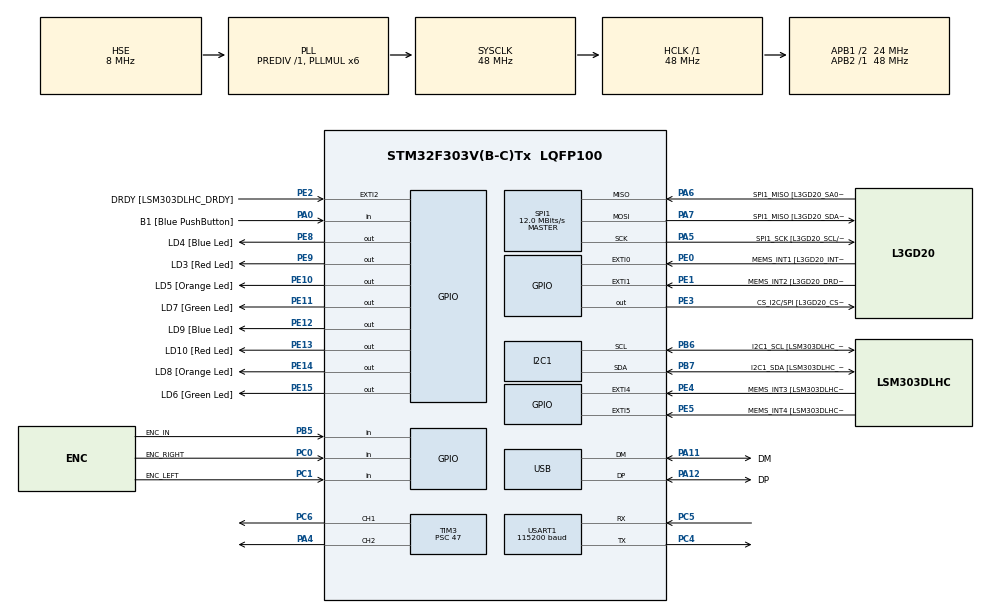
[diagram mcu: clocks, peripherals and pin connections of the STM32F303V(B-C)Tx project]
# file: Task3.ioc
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I2C1.Timing=0x00201D2B
I2C1.Timing-I2C=0x2000090E
Mcu.Family=STM32F3
Mcu.Name=STM32F303V(B-C)Tx
Mcu.Package=LQFP100
NVIC.PriorityGroup=NVIC_PRIORITYGROUP_0
PA0.GPIO_Label=B1 [Blue PushButton]
PA0.Signal=GPIO_Input
PA11.GPIO_Label=DM
PA11.Mode=Device
PA11.Signal=USB_DM
PA12.GPIO_Label=DP
PA12.Mode=Device
PA12.Signal=USB_DP
PA13.GPIO_Label=SWDIO
PA13.Mode=Serial_Wire
PA13.Signal=SYS_JTMS-SWDIO
PA14.GPIO_Label=SWCLK
PA14.Mode=Serial_Wire
PA14.Signal=SYS_JTCK-SWCLK
PA4.Signal=S_TIM3_CH2
PA5.GPIO_Label=SPI1_SCK [L3GD20_SCL/SPC]
PA5.Mode=Full_Duplex_Master
PA5.Signal=SPI1_SCK
PA6.GPIO_Label=SPI1_MISO [L3GD20_SA0/SDO]
PA6.Mode=Full_Duplex_Master
PA6.Signal=SPI1_MISO
PA7.GPIO_Label=SPI1_MISO [L3GD20_SDA/SDI/SDO]
PA7.Mode=Full_Duplex_Master
PA7.Signal=SPI1_MOSI
PB5.GPIO_Label=ENC_IN
PB5.GPIO_PuPd=GPIO_PULLUP
PB5.Signal=GPIO_Input
PB6.GPIO_Label=I2C1_SCL [LSM303DLHC_SCL]
PB6.GPIO_Pu=GPIO_PULLUP
PB6.Mode=I2C
PB6.Signal=I2C1_SCL
PB7.GPIO_Label=I2C1_SDA [LSM303DLHC_SDA]
PB7.GPIO_Pu=GPIO_PULLUP
PB7.Mode=I2C
PB7.Signal=I2C1_SDA
PC0.GPIO_Label=ENC_RIGHT
PC0.GPIO_PuPd=GPIO_PULLUP
PC0.Signal=GPIO_Input
PC1.GPIO_Label=ENC_LEFT
PC1.GPIO_PuPd=GPIO_PULLUP
PC1.Signal=GPIO_Input
PC14-OSC32_IN.GPIO_Label=OSC32_IN
PC14-OSC32_IN.Signal=RCC_OSC32_IN
PC15-OSC32_OUT.GPIO_Label=OSC32_OUT
PC15-OSC32_OUT.Signal=RCC_OSC32_OUT
PC4.Mode=Asynchronous
PC4.Signal=USART1_TX
PC5.Mode=Asynchronous
PC5.Signal=USART1_RX
PC6.Signal=S_TIM3_CH1
PE0.GPIO_Label=MEMS_INT1 [L3GD20_INT1]
PE0.GPIO_ModeDefaultEXTI=GPIO_MODE_EVT_RISING
PE0.Signal=GPXTI0
PE1.GPIO_Label=MEMS_INT2 [L3GD20_DRDY/INT2]
PE1.GPIO_ModeDefaultEXTI=GPIO_MODE_EVT_RISING
PE1.Signal=GPXTI1
PE10.GPIO_Label=LD5 [Orange Led]
PE10.Signal=GPIO_Output
PE11.GPIO_Label=LD7 [Green Led]
PE11.Signal=GPIO_Output
PE12.GPIO_Label=LD9 [Blue Led]
PE12.Signal=GPIO_Output
PE13.GPIO_Label=LD10 [Red Led]
PE13.Signal=GPIO_Output
PE14.GPIO_Label=LD8 [Orange Led]
PE14.Signal=GPIO_Output
PE15.GPIO_Label=LD6 [Green Led]
PE15.Signal=GPIO_Output
PE2.GPIO_Label=DRDY [LSM303DLHC_DRDY]
PE2.GPIO_ModeDefaultEXTI=GPIO_MODE_EVT_RISING
PE2.Signal=GPXTI2
PE3.GPIO_Label=CS_I2C/SPI [L3GD20_CS_I2C/SPI]
PE3.Signal=GPIO_Output
PE4.GPIO_Label=MEMS_INT3 [LSM303DLHC_INT1]
PE4.GPIO_ModeDefaultEXTI=GPIO_MODE_EVT_RISING
PE4.Signal=GPXTI4
PE5.GPIO_Label=MEMS_INT4 [LSM303DLHC_INT2]
PE5.GPIO_ModeDefaultEXTI=GPIO_MODE_EVT_RISING
PE5.Signal=GPXTI5
PE8.GPIO_Label=LD4 [Blue Led]
PE8.Signal=GPIO_Output
PE9.GPIO_Label=LD3 [Red Led]
PE9.Signal=GPIO_Output
PF0-OSC_IN.GPIO_Label=OSC_IN
PF0-OSC_IN.Mode=HSE-External-Clock-Source
PF0-OSC_IN.Signal=RCC_OSC_IN
PF1-OSC_OUT.GPIO_Label=OSC_OUT
PF1-OSC_OUT.Signal=RCC_OSC_OUT
ProjectManager.HeapSize=0x200
ProjectManager.StackSize=0x400
ProjectManager.TargetToolchain=CMake
RCC.AHBFreq_Value=48000000
RCC.APB1CLKDivider=RCC_HCLK_DIV2
RCC.APB1Freq_Value=24000000
RCC.APB1TimFreq_Value=48000000
RCC.APB2Freq_Value=48000000
RCC.APB2TimFreq_Value=48000000
RCC.CortexFreq_Value=48000000
RCC.HCLKFreq_Value=48000000
RCC.HSE_VALUE=8000000
RCC.HSI_VALUE=8000000
RCC.LSE_VALUE=32768
RCC.PLLMUL=RCC_PLL_MUL6
RCC.SYSCLKFreq_VALUE=48000000
RCC.SYSCLKSourceVirtual=RCC_SYSCLKSOURCE_PLLCLK
RCC.USBFreq_Value=48000000
SH.S_TIM3_CH1.0=TIM3_CH1,PWM Generation1 CH1
SH.S_TIM3_CH2.0=TIM3_CH2,PWM Generation2 CH2
SPI1.BaudRatePrescaler=SPI_BAUDRATEPRESCALER_4
SPI1.BaudRatePrescaler-Full_Duplex_Master=SPI_BAUDRATEPRESCALER_2
SPI1.CalculateBaudRate=12.0 MBits/s
SPI1.CalculateBaudRate-Full_Duplex_Master=24.0 MBits/s
SPI1.Direction=SPI_DIRECTION_2LINES
SPI1.Mode=SPI_MODE_MASTER
SPI1.Mode-Full_Duplex_Master=SPI_MODE_MASTER
SPI1.VirtualType=VM_MASTER
TIM2.Prescaler=47
TIM3.Channel-PWM\ Generation1\ CH1=TIM_CHANNEL_1
TIM3.Channel-PWM\ Generation2\ CH2=TIM_CHANNEL_2
TIM3.Period=999
TIM3.Prescaler=47
USART1.BaudRate=115200
USART1.VirtualMode-Asynchronous=VM_ASYNC
VP_TIM2_VS_ClockSourceINT.Mode=Internal
board=STM32F3DISCOVERY

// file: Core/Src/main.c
/* USER CODE BEGIN Header */
/**
  ******************************************************************************
  * @file           : main.c
  * @brief          : Main program body
  ******************************************************************************
  * @attention
  *
  * Copyright (c) 2026 STMicroelectronics.
  * All rights reserved.
  *
  * This software is licensed under terms that can be found in the LICENSE file
  * in the root directory of this software component.
  * If no LICENSE file comes with this software, it is provided AS-IS.
  *
  ******************************************************************************
  */
/* USER CODE END Header */
#include "main.h"

/* USER CODE BEGIN Includes */
#include "stm32f303xc.h"
#include "stm32f3xx_hal.h"
#include <stdio.h>
#include <string.h>
/* USER CODE END Includes */

/* USER CODE BEGIN PD */
#define PPR 330.0f // Motor's Pulse Per Rotation
/* USER CODE END PD */

I2C_HandleTypeDef hi2c1;

SPI_HandleTypeDef hspi1;

TIM_HandleTypeDef htim2;
TIM_HandleTypeDef htim3;

UART_HandleTypeDef huart1;

PCD_HandleTypeDef hpcd_USB_FS;

/* USER CODE BEGIN PV */
  uint32_t t1, t2, usElapsed;
  float    frequencyInHz, rpm;
  char     uartBuffer[64];
/* USER CODE END PV */

void SystemClock_Config(void);
static void MX_GPIO_Init(void);
static void MX_I2C1_Init(void);
static void MX_SPI1_Init(void);
static void MX_TIM2_Init(void);
static void MX_TIM3_Init(void);
static void MX_USART1_UART_Init(void);
static void MX_USB_PCD_Init(void);

/* USER CODE BEGIN 0 */

/*
 TODO: wait_for_falling_edge()
 Busy-waits until the given pin goes HIGH then LOW.
 "HIGH first" ensures we always start from a known state
 and don't accidentally catch the tail of a previous edge.
 */
void wait_for_falling_edge(GPIO_TypeDef *GPIOx, uint16_t GPIO_Pin)
{
    while (HAL_GPIO_ReadPin(GPIOx, GPIO_Pin) == GPIO_PIN_RESET); /* wait HIGH */
    while (HAL_GPIO_ReadPin(GPIOx, GPIO_Pin) == GPIO_PIN_SET);   /* wait LOW  */
}

/* USER CODE END 0 */

int main(void)
{

  /* MCU Configuration--------------------------------------------------------*/

  /* Reset of all peripherals, Initializes the Flash interface and the Systick. */
  HAL_Init();

  /* Configure the system clock */
  SystemClock_Config();

  /* Initialize all configured peripherals */
  MX_GPIO_Init();
  MX_I2C1_Init();
  MX_SPI1_Init();
  MX_TIM2_Init();
  MX_TIM3_Init();
  MX_USART1_UART_Init();
  MX_USB_PCD_Init();
  /* USER CODE BEGIN 2 */

  /* ── Lab 5: Motor PWM at 50% duty cycle ── */
    HAL_TIM_PWM_Start(&htim3, TIM_CHANNEL_1);
    HAL_TIM_PWM_Start(&htim3, TIM_CHANNEL_2);
    __HAL_TIM_SET_COMPARE(&htim3, TIM_CHANNEL_1, 500);
    __HAL_TIM_SET_COMPARE(&htim3, TIM_CHANNEL_2, 500);

      /* ── Lab 5: Motor direction ── */
    HAL_GPIO_WritePin(GPIOB, GPIO_PIN_12, GPIO_PIN_SET);
    HAL_GPIO_WritePin(GPIOB, GPIO_PIN_8,  GPIO_PIN_RESET);
    HAL_GPIO_WritePin(GPIOB, GPIO_PIN_5,  GPIO_PIN_SET);
    HAL_GPIO_WritePin(GPIOB, GPIO_PIN_4,  GPIO_PIN_RESET);

    /*
     LAB6 TODO: Start TIM2 as a free-running counter.
     Prescaler=47 at 48 MHz → 1 tick = 1 µs.
     ARR=4294967295 (32-bit max) → overflows only after ~71 minutes.
     Simple subtraction (t2 - t1) always gives correct elapsed µs.
    */
    HAL_TIM_Base_Start(&htim2);

  /* USER CODE END 2 */

  /* Infinite loop */
  while (1)
  {
    float sum = 0;

    for (int i = 0; i < 10; i++) {
      wait_for_falling_edge(GPIOC, ENC_RIGHT_Pin);
      t1 = __HAL_TIM_GET_COUNTER(&htim2);
      wait_for_falling_edge(GPIOC, ENC_RIGHT_Pin);
      t2 = __HAL_TIM_GET_COUNTER(&htim2);

      usElapsed = t2 - t1;

      if(usElapsed > 0){
        float freq = 1000000.0f / (float)usElapsed;
        sum += freq;
      }
    }

    float avg_freq = sum / 10.0f;
    float rpm = (60.0f * avg_freq) / PPR;

    snprintf(
    uartBuffer,
    sizeof(uartBuffer),
    "[RIGHT] Freq: %.2f Hz | RPM: %.2f\r\n",
    avg_freq, rpm
    );

    HAL_UART_Transmit(&huart1, (uint8_t *)uartBuffer, strlen(uartBuffer), HAL_MAX_DELAY);

    HAL_Delay(100);
  }
}

void SystemClock_Config(void)
{
  RCC_OscInitTypeDef RCC_OscInitStruct = {0};
  RCC_ClkInitTypeDef RCC_ClkInitStruct = {0};
  RCC_PeriphCLKInitTypeDef PeriphClkInit = {0};

  /** Initializes the RCC Oscillators according to the specified parameters
  * in the RCC_OscInitTypeDef structure.
  */
  RCC_OscInitStruct.OscillatorType = RCC_OSCILLATORTYPE_HSI|RCC_OSCILLATORTYPE_HSE;
  RCC_OscInitStruct.HSEState = RCC_HSE_BYPASS;
  RCC_OscInitStruct.HSEPredivValue = RCC_HSE_PREDIV_DIV1;
  RCC_OscInitStruct.HSIState = RCC_HSI_ON;
  RCC_OscInitStruct.HSICalibrationValue = RCC_HSICALIBRATION_DEFAULT;
  RCC_OscInitStruct.PLL.PLLState = RCC_PLL_ON;
  RCC_OscInitStruct.PLL.PLLSource = RCC_PLLSOURCE_HSE;
  RCC_OscInitStruct.PLL.PLLMUL = RCC_PLL_MUL6;
  if (HAL_RCC_OscConfig(&RCC_OscInitStruct) != HAL_OK)
  {
    Error_Handler();
  }

  /** Initializes the CPU, AHB and APB buses clocks
  */
  RCC_ClkInitStruct.ClockType = RCC_CLOCKTYPE_HCLK|RCC_CLOCKTYPE_SYSCLK
                              |RCC_CLOCKTYPE_PCLK1|RCC_CLOCKTYPE_PCLK2;
  RCC_ClkInitStruct.SYSCLKSource = RCC_SYSCLKSOURCE_PLLCLK;
  RCC_ClkInitStruct.AHBCLKDivider = RCC_SYSCLK_DIV1;
  RCC_ClkInitStruct.APB1CLKDivider = RCC_HCLK_DIV2;
  RCC_ClkInitStruct.APB2CLKDivider = RCC_HCLK_DIV1;

  if (HAL_RCC_ClockConfig(&RCC_ClkInitStruct, FLASH_LATENCY_1) != HAL_OK)
  {
    Error_Handler();
  }
  PeriphClkInit.PeriphClockSelection = RCC_PERIPHCLK_USB|RCC_PERIPHCLK_USART1
                              |RCC_PERIPHCLK_I2C1;
  PeriphClkInit.Usart1ClockSelection = RCC_USART1CLKSOURCE_PCLK2;
  PeriphClkInit.I2c1ClockSelection = RCC_I2C1CLKSOURCE_HSI;
  PeriphClkInit.USBClockSelection = RCC_USBCLKSOURCE_PLL;
  if (HAL_RCCEx_PeriphCLKConfig(&PeriphClkInit) != HAL_OK)
  {
    Error_Handler();
  }
}

static void MX_I2C1_Init(void)
{

  hi2c1.Instance = I2C1;
  hi2c1.Init.Timing = 0x00201D2B;
  hi2c1.Init.OwnAddress1 = 0;
  hi2c1.Init.AddressingMode = I2C_ADDRESSINGMODE_7BIT;
  hi2c1.Init.DualAddressMode = I2C_DUALADDRESS_DISABLE;
  hi2c1.Init.OwnAddress2 = 0;
  hi2c1.Init.OwnAddress2Masks = I2C_OA2_NOMASK;
  hi2c1.Init.GeneralCallMode = I2C_GENERALCALL_DISABLE;
  hi2c1.Init.NoStretchMode = I2C_NOSTRETCH_DISABLE;
  if (HAL_I2C_Init(&hi2c1) != HAL_OK)
  {
    Error_Handler();
  }

  /** Configure Analogue filter
  */
  if (HAL_I2CEx_ConfigAnalogFilter(&hi2c1, I2C_ANALOGFILTER_ENABLE) != HAL_OK)
  {
    Error_Handler();
  }

  /** Configure Digital filter
  */
  if (HAL_I2CEx_ConfigDigitalFilter(&hi2c1, 0) != HAL_OK)
  {
    Error_Handler();
  }

}

static void MX_SPI1_Init(void)
{

  /* SPI1 parameter configuration*/
  hspi1.Instance = SPI1;
  hspi1.Init.Mode = SPI_MODE_MASTER;
  hspi1.Init.Direction = SPI_DIRECTION_2LINES;
  hspi1.Init.DataSize = SPI_DATASIZE_4BIT;
  hspi1.Init.CLKPolarity = SPI_POLARITY_LOW;
  hspi1.Init.CLKPhase = SPI_PHASE_1EDGE;
  hspi1.Init.NSS = SPI_NSS_SOFT;
  hspi1.Init.BaudRatePrescaler = SPI_BAUDRATEPRESCALER_4;
  hspi1.Init.FirstBit = SPI_FIRSTBIT_MSB;
  hspi1.Init.TIMode = SPI_TIMODE_DISABLE;
  hspi1.Init.CRCCalculation = SPI_CRCCALCULATION_DISABLE;
  hspi1.Init.CRCPolynomial = 7;
  hspi1.Init.CRCLength = SPI_CRC_LENGTH_DATASIZE;
  hspi1.Init.NSSPMode = SPI_NSS_PULSE_ENABLE;
  if (HAL_SPI_Init(&hspi1) != HAL_OK)
  {
    Error_Handler();
  }

}

static void MX_TIM2_Init(void)
{

  TIM_ClockConfigTypeDef sClockSourceConfig = {0};
  TIM_MasterConfigTypeDef sMasterConfig = {0};

  htim2.Instance = TIM2;
  htim2.Init.Prescaler = 47;
  htim2.Init.CounterMode = TIM_COUNTERMODE_UP;
  htim2.Init.Period = 4294967295;
  htim2.Init.ClockDivision = TIM_CLOCKDIVISION_DIV1;
  htim2.Init.AutoReloadPreload = TIM_AUTORELOAD_PRELOAD_DISABLE;
  if (HAL_TIM_Base_Init(&htim2) != HAL_OK)
  {
    Error_Handler();
  }
  sClockSourceConfig.ClockSource = TIM_CLOCKSOURCE_INTERNAL;
  if (HAL_TIM_ConfigClockSource(&htim2, &sClockSourceConfig) != HAL_OK)
  {
    Error_Handler();
  }
  sMasterConfig.MasterOutputTrigger = TIM_TRGO_RESET;
  sMasterConfig.MasterSlaveMode = TIM_MASTERSLAVEMODE_DISABLE;
  if (HAL_TIMEx_MasterConfigSynchronization(&htim2, &sMasterConfig) != HAL_OK)
  {
    Error_Handler();
  }

}

static void MX_TIM3_Init(void)
{

  TIM_MasterConfigTypeDef sMasterConfig = {0};
  TIM_OC_InitTypeDef sConfigOC = {0};

  htim3.Instance = TIM3;
  htim3.Init.Prescaler = 47;
  htim3.Init.CounterMode = TIM_COUNTERMODE_UP;
  htim3.Init.Period = 999;
  htim3.Init.ClockDivision = TIM_CLOCKDIVISION_DIV1;
  htim3.Init.AutoReloadPreload = TIM_AUTORELOAD_PRELOAD_DISABLE;
  if (HAL_TIM_PWM_Init(&htim3) != HAL_OK)
  {
    Error_Handler();
  }
  sMasterConfig.MasterOutputTrigger = TIM_TRGO_RESET;
  sMasterConfig.MasterSlaveMode = TIM_MASTERSLAVEMODE_DISABLE;
  if (HAL_TIMEx_MasterConfigSynchronization(&htim3, &sMasterConfig) != HAL_OK)
  {
    Error_Handler();
  }
  sConfigOC.OCMode = TIM_OCMODE_PWM1;
  sConfigOC.Pulse = 0;
  sConfigOC.OCPolarity = TIM_OCPOLARITY_HIGH;
  sConfigOC.OCFastMode = TIM_OCFAST_DISABLE;
  if (HAL_TIM_PWM_ConfigChannel(&htim3, &sConfigOC, TIM_CHANNEL_1) != HAL_OK)
  {
    Error_Handler();
  }
  if (HAL_TIM_PWM_ConfigChannel(&htim3, &sConfigOC, TIM_CHANNEL_2) != HAL_OK)
  {
    Error_Handler();
  }
  HAL_TIM_MspPostInit(&htim3);

}

static void MX_USART1_UART_Init(void)
{

  huart1.Instance = USART1;
  huart1.Init.BaudRate = 115200;
  huart1.Init.WordLength = UART_WORDLENGTH_8B;
  huart1.Init.StopBits = UART_STOPBITS_1;
  huart1.Init.Parity = UART_PARITY_NONE;
  huart1.Init.Mode = UART_MODE_TX_RX;
  huart1.Init.HwFlowCtl = UART_HWCONTROL_NONE;
  huart1.Init.OverSampling = UART_OVERSAMPLING_16;
  huart1.Init.OneBitSampling = UART_ONE_BIT_SAMPLE_DISABLE;
  huart1.AdvancedInit.AdvFeatureInit = UART_ADVFEATURE_NO_INIT;
  if (HAL_UART_Init(&huart1) != HAL_OK)
  {
    Error_Handler();
  }

}

static void MX_USB_PCD_Init(void)
{

  hpcd_USB_FS.Instance = USB;
  hpcd_USB_FS.Init.dev_endpoints = 8;
  hpcd_USB_FS.Init.speed = PCD_SPEED_FULL;
  hpcd_USB_FS.Init.phy_itface = PCD_PHY_EMBEDDED;
  hpcd_USB_FS.Init.low_power_enable = DISABLE;
  hpcd_USB_FS.Init.battery_charging_enable = DISABLE;
  if (HAL_PCD_Init(&hpcd_USB_FS) != HAL_OK)
  {
    Error_Handler();
  }

}

static void MX_GPIO_Init(void)
{
  GPIO_InitTypeDef GPIO_InitStruct = {0};

  /* GPIO Ports Clock Enable */
  __HAL_RCC_GPIOE_CLK_ENABLE();
  __HAL_RCC_GPIOC_CLK_ENABLE();
  __HAL_RCC_GPIOF_CLK_ENABLE();
  __HAL_RCC_GPIOA_CLK_ENABLE();
  __HAL_RCC_GPIOB_CLK_ENABLE();

  /*Configure GPIO pin Output Level */
  HAL_GPIO_WritePin(GPIOE, CS_I2C_SPI_Pin|LD4_Pin|LD3_Pin|LD5_Pin
                          |LD7_Pin|LD9_Pin|LD10_Pin|LD8_Pin
                          |LD6_Pin, GPIO_PIN_RESET);

  /*Configure GPIO pins : DRDY_Pin MEMS_INT3_Pin MEMS_INT4_Pin MEMS_INT1_Pin
                           MEMS_INT2_Pin */
  GPIO_InitStruct.Pin = DRDY_Pin|MEMS_INT3_Pin|MEMS_INT4_Pin|MEMS_INT1_Pin
                          |MEMS_INT2_Pin;
  GPIO_InitStruct.Mode = GPIO_MODE_EVT_RISING;
  GPIO_InitStruct.Pull = GPIO_NOPULL;
  HAL_GPIO_Init(GPIOE, &GPIO_InitStruct);

  /*Configure GPIO pins : CS_I2C_SPI_Pin LD4_Pin LD3_Pin LD5_Pin
                           LD7_Pin LD9_Pin LD10_Pin LD8_Pin
                           LD6_Pin */
  GPIO_InitStruct.Pin = CS_I2C_SPI_Pin|LD4_Pin|LD3_Pin|LD5_Pin
                          |LD7_Pin|LD9_Pin|LD10_Pin|LD8_Pin
                          |LD6_Pin;
  GPIO_InitStruct.Mode = GPIO_MODE_OUTPUT_PP;
  GPIO_InitStruct.Pull = GPIO_NOPULL;
  GPIO_InitStruct.Speed = GPIO_SPEED_FREQ_LOW;
  HAL_GPIO_Init(GPIOE, &GPIO_InitStruct);

  /*Configure GPIO pins : ENC_RIGHT_Pin ENC_LEFT_Pin */
  GPIO_InitStruct.Pin = ENC_RIGHT_Pin|ENC_LEFT_Pin;
  GPIO_InitStruct.Mode = GPIO_MODE_INPUT;
  GPIO_InitStruct.Pull = GPIO_PULLUP;
  HAL_GPIO_Init(GPIOC, &GPIO_InitStruct);

  /*Configure GPIO pin : B1_Pin */
  GPIO_InitStruct.Pin = B1_Pin;
  GPIO_InitStruct.Mode = GPIO_MODE_INPUT;
  GPIO_InitStruct.Pull = GPIO_NOPULL;
  HAL_GPIO_Init(B1_GPIO_Port, &GPIO_InitStruct);

  /*Configure GPIO pin : ENC_IN_Pin */
  GPIO_InitStruct.Pin = ENC_IN_Pin;
  GPIO_InitStruct.Mode = GPIO_MODE_INPUT;
  GPIO_InitStruct.Pull = GPIO_PULLUP;
  HAL_GPIO_Init(ENC_IN_GPIO_Port, &GPIO_InitStruct);

}

void Error_Handler(void)
{
  __disable_irq();
  while (1)
  {
  }
}
